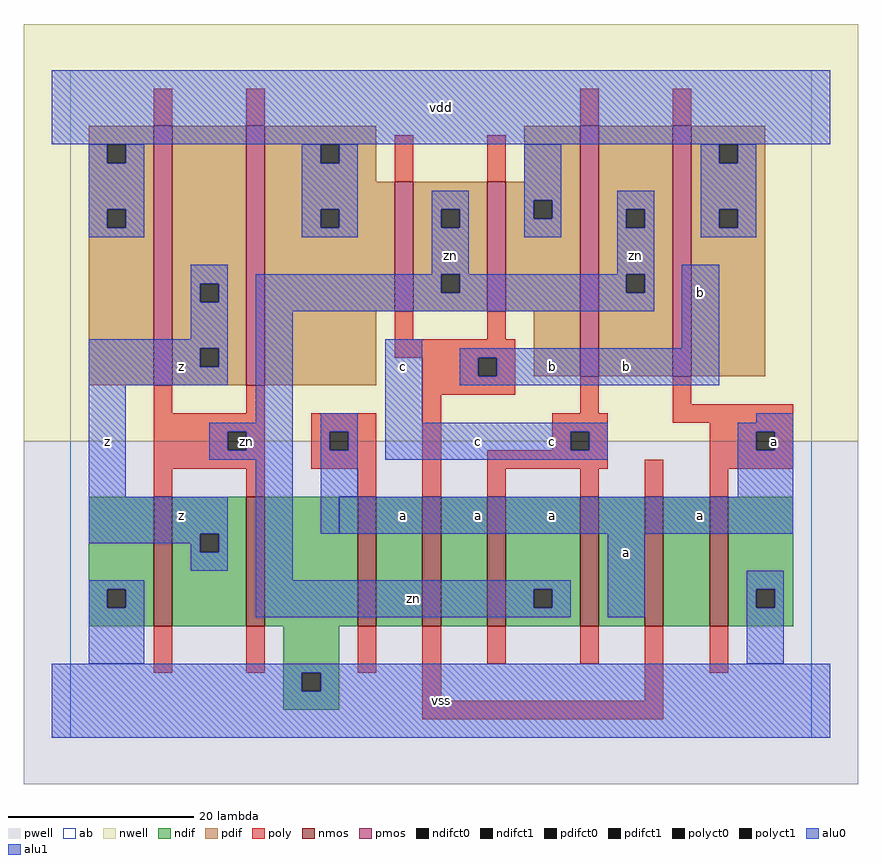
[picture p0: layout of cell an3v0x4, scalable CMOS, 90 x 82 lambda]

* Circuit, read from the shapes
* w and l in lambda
.subckt an3v0x4 a b c vdd vss z zn
M1 z zn vss VSUBS nfet w=14 l=2 m=2
M2 n1 a vss VSUBS nfet w=14 l=2
M3 n2 b n1 VSUBS nfet w=14 l=2
M4 zn c n2 VSUBS nfet w=14 l=2
M5 n3 c zn VSUBS nfet w=14 l=2
M6 n4 b n3 VSUBS nfet w=14 l=2
M7 vss a n4 VSUBS nfet w=14 l=2
M8 z zn vdd n5 pfet w=28 l=2 m=2
M9 zn b vdd n5 pfet w=14 l=2 m=2
M10 zn c vdd n5 pfet w=27 l=2
M11 vdd a zn n5 pfet w=27 l=2
.ends

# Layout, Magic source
magic
tech scmos
<< ab >>
rect 0 0 80 72
<< nwell >>
rect -5 32 85 77
<< pwell >>
rect -5 -5 85 32
<< poly >>
rect 9 66 11 70
rect 19 66 21 70
rect 55 66 57 70
rect 65 66 67 70
rect 35 60 37 65
rect 45 60 47 65
rect 35 43 37 46
rect 45 43 47 46
rect 35 41 48 43
rect 38 39 44 41
rect 46 39 48 41
rect 9 35 11 38
rect 19 35 21 38
rect 38 37 48 39
rect 9 33 21 35
rect 9 31 17 33
rect 19 31 21 33
rect 9 29 21 31
rect 26 33 33 35
rect 26 31 28 33
rect 30 31 33 33
rect 26 29 33 31
rect 9 26 11 29
rect 19 26 21 29
rect 31 26 33 29
rect 38 26 40 37
rect 55 35 57 39
rect 65 36 67 39
rect 52 33 58 35
rect 65 34 78 36
rect 52 31 54 33
rect 56 31 58 33
rect 45 29 58 31
rect 69 33 78 34
rect 69 31 74 33
rect 76 31 78 33
rect 45 26 47 29
rect 55 26 57 29
rect 62 26 64 30
rect 69 29 78 31
rect 69 26 71 29
rect 9 7 11 12
rect 19 7 21 12
rect 31 7 33 12
rect 38 4 40 12
rect 45 8 47 12
rect 55 8 57 12
rect 62 4 64 12
rect 69 7 71 12
rect 38 2 64 4
<< ndif >>
rect 2 16 9 26
rect 2 14 4 16
rect 6 14 9 16
rect 2 12 9 14
rect 11 22 19 26
rect 11 20 14 22
rect 16 20 19 22
rect 11 12 19 20
rect 21 12 31 26
rect 33 12 38 26
rect 40 12 45 26
rect 47 16 55 26
rect 47 14 50 16
rect 52 14 55 16
rect 47 12 55 14
rect 57 12 62 26
rect 64 12 69 26
rect 71 16 78 26
rect 71 14 74 16
rect 76 14 78 16
rect 71 12 78 14
rect 23 7 29 12
rect 23 5 25 7
rect 27 5 29 7
rect 23 3 29 5
<< pdif >>
rect 2 64 9 66
rect 2 62 4 64
rect 6 62 9 64
rect 2 57 9 62
rect 2 55 4 57
rect 6 55 9 57
rect 2 38 9 55
rect 11 49 19 66
rect 11 47 14 49
rect 16 47 19 49
rect 11 42 19 47
rect 11 40 14 42
rect 16 40 19 42
rect 11 38 19 40
rect 21 64 33 66
rect 21 62 27 64
rect 29 62 33 64
rect 21 60 33 62
rect 49 60 55 66
rect 21 57 35 60
rect 21 55 27 57
rect 29 55 35 57
rect 21 46 35 55
rect 37 57 45 60
rect 37 55 40 57
rect 42 55 45 57
rect 37 50 45 55
rect 37 48 40 50
rect 42 48 45 50
rect 37 46 45 48
rect 47 58 55 60
rect 47 56 50 58
rect 52 56 55 58
rect 47 46 55 56
rect 21 38 33 46
rect 50 39 55 46
rect 57 57 65 66
rect 57 55 60 57
rect 62 55 65 57
rect 57 50 65 55
rect 57 48 60 50
rect 62 48 65 50
rect 57 39 65 48
rect 67 64 75 66
rect 67 62 70 64
rect 72 62 75 64
rect 67 57 75 62
rect 67 55 70 57
rect 72 55 75 57
rect 67 39 75 55
<< alu1 >>
rect -2 64 82 72
rect 13 49 17 51
rect 13 47 14 49
rect 16 47 17 49
rect 13 43 17 47
rect 2 42 17 43
rect 2 40 14 42
rect 16 40 17 42
rect 2 38 17 40
rect 2 26 6 38
rect 2 22 17 26
rect 2 21 14 22
rect 13 20 14 21
rect 16 20 17 22
rect 13 18 17 20
rect 34 34 38 43
rect 66 42 70 51
rect 42 41 70 42
rect 42 39 44 41
rect 46 39 70 41
rect 42 38 70 39
rect 74 34 78 35
rect 34 33 58 34
rect 34 31 54 33
rect 56 31 58 33
rect 34 30 58 31
rect 72 33 78 34
rect 72 31 74 33
rect 76 31 78 33
rect 72 26 78 31
rect 29 22 78 26
rect 58 13 62 22
rect -2 7 82 8
rect -2 5 25 7
rect 27 5 82 7
rect -2 0 82 5
<< nmos >>
rect 9 12 11 26
rect 19 12 21 26
rect 31 12 33 26
rect 38 12 40 26
rect 45 12 47 26
rect 55 12 57 26
rect 62 12 64 26
rect 69 12 71 26
<< pmos >>
rect 9 38 11 66
rect 19 38 21 66
rect 35 46 37 60
rect 45 46 47 60
rect 55 39 57 66
rect 65 39 67 66
<< polyct0 >>
rect 17 31 19 33
rect 28 31 30 33
<< polyct1 >>
rect 44 39 46 41
rect 54 31 56 33
rect 74 31 76 33
<< ndifct0 >>
rect 4 14 6 16
rect 50 14 52 16
rect 74 14 76 16
<< ndifct1 >>
rect 14 20 16 22
rect 25 5 27 7
<< pdifct0 >>
rect 4 62 6 64
rect 4 55 6 57
rect 27 62 29 64
rect 27 55 29 57
rect 40 55 42 57
rect 40 48 42 50
rect 50 56 52 58
rect 60 55 62 57
rect 60 48 62 50
rect 70 62 72 64
rect 70 55 72 57
<< pdifct1 >>
rect 14 47 16 49
rect 14 40 16 42
<< alu0 >>
rect 2 62 4 64
rect 6 62 8 64
rect 2 57 8 62
rect 2 55 4 57
rect 6 55 8 57
rect 2 54 8 55
rect 25 62 27 64
rect 29 62 31 64
rect 25 57 31 62
rect 25 55 27 57
rect 29 55 31 57
rect 25 54 31 55
rect 39 57 43 59
rect 39 55 40 57
rect 42 55 43 57
rect 39 50 43 55
rect 49 58 53 64
rect 68 62 70 64
rect 72 62 74 64
rect 49 56 50 58
rect 52 56 53 58
rect 49 54 53 56
rect 59 57 63 59
rect 59 55 60 57
rect 62 55 63 57
rect 59 50 63 55
rect 68 57 74 62
rect 68 55 70 57
rect 72 55 74 57
rect 68 54 74 55
rect 20 48 40 50
rect 42 48 60 50
rect 62 48 63 50
rect 20 46 63 48
rect 20 34 24 46
rect 15 33 24 34
rect 15 31 17 33
rect 19 31 24 33
rect 15 30 24 31
rect 20 17 24 30
rect 27 33 31 35
rect 27 31 28 33
rect 30 31 31 33
rect 27 26 31 31
rect 27 22 29 26
rect 2 16 8 17
rect 2 14 4 16
rect 6 14 8 16
rect 2 8 8 14
rect 20 16 54 17
rect 20 14 50 16
rect 52 14 54 16
rect 20 13 54 14
rect 73 16 77 18
rect 73 14 74 16
rect 76 14 77 16
rect 73 8 77 14
<< labels >>
rlabel alu0 19 32 19 32 6 zn
rlabel alu0 41 52 41 52 6 zn
rlabel alu0 37 15 37 15 6 zn
rlabel alu0 61 52 61 52 6 zn
rlabel alu1 12 24 12 24 6 z
rlabel alu1 4 32 4 32 6 z
rlabel alu1 12 40 12 40 6 z
rlabel alu1 36 24 36 24 6 a
rlabel alu1 36 40 36 40 6 c
rlabel alu1 40 4 40 4 6 vss
rlabel alu1 44 24 44 24 6 a
rlabel alu1 44 32 44 32 6 c
rlabel alu1 52 32 52 32 6 c
rlabel alu1 52 24 52 24 6 a
rlabel alu1 52 40 52 40 6 b
rlabel alu1 40 68 40 68 6 vdd
rlabel alu1 60 20 60 20 6 a
rlabel alu1 76 32 76 32 6 a
rlabel alu1 68 24 68 24 6 a
rlabel alu1 60 40 60 40 6 b
rlabel alu1 68 48 68 48 6 b
<< end >>
